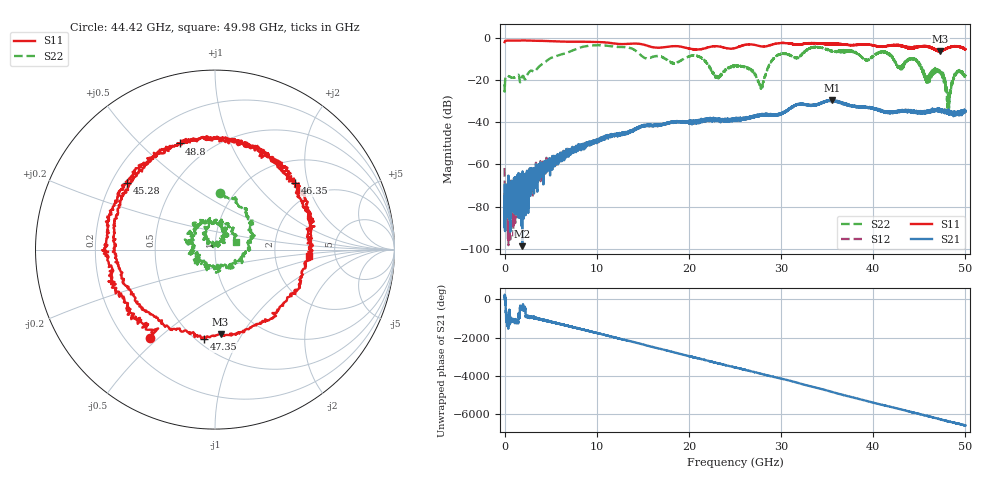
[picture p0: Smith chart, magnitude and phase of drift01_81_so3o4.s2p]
!Created with skrf (http://scikit-rf.org).
# Hz S RI R 50.0
!freq ReS11 ImS11 ReS21 ImS21 ReS12 ImS12 ReS22 ImS22
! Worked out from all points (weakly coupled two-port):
!   10001 points, 300 kHz to 50 GHz, reference 50 ohm
!   highest |S21| = -29.54 dB at 35.57 GHz (marker M1); lowest = -98.7 dB at 1.915 GHz (marker M2)
!   lowest |S11| = -6.5 dB at 47.28 GHz (marker M3), VSWR 2.78, Z = 33.6 - j40.5 ohm
!   |S11| at or under -10 dB: nowhere
!   |S22| runs from -35.2 to -3.6 dB; largest |S21 - S12| = 0.0035
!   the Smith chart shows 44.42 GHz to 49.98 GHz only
!   S11 on the Smith chart (normalised r, x): 44.42 GHz: 0.30, -0.47; 45.28 GHz: 0.26, +0.32; 46.35 GHz: 1.50, +1.67; 47.35 GHz: 0.55, -0.72; 48.8 GHz: 0.34, +0.66; 49.98 GHz: 3.18, -0.29
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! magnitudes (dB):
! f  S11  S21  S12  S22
! 300 kHz  -2.1  -81.0  -61.7  -22.1
! 255.3 MHz  -1.4  -74.6  -69.5  -18.0
! 1.915 GHz  -1.4  -98.7  -70.4  -18.4
! 8.335 GHz  -1.9  -50.9  -51.0  -4.5
! 16.67 GHz  -4.8  -41.6  -41.3  -8.7
! 20.99 GHz  -5.6  -39.7  -39.9  -8.7
! 23.1 GHz  -4.1  -39.2  -39.1  -18.6
! 25 GHz  -5.0  -38.8  -38.6  -13.5
! 27.86 GHz  -4.2  -36.3  -36.6  -23.0
! 29.44 GHz  -2.9  -36.3  -36.8  -8.9
! 33.34 GHz  -2.6  -32.1  -32.0  -4.8
! 35.57 GHz  -2.9  -29.5  -29.7  -6.5
! 41.67 GHz  -3.8  -35.6  -35.4  -8.0
! 44.42 GHz  -4.3  -35.4  -35.1  -10.0
! 45.28 GHz  -4.2  -35.7  -35.2  -14.2
! 46.35 GHz  -4.7  -34.3  -34.5  -16.5
! 47.28 GHz  -6.5  -34.6  -34.6  -16.2
! 47.35 GHz  -6.0  -34.5  -34.7  -16.9
! 48.2 GHz  -4.8  -36.2  -35.1  -32.9
! 48.8 GHz  -4.1  -35.6  -36.1  -18.0
! 49.98 GHz  -5.6  -34.9  -34.8  -18.1
! 50 GHz  -5.6  -34.9  -34.9  -18.2
